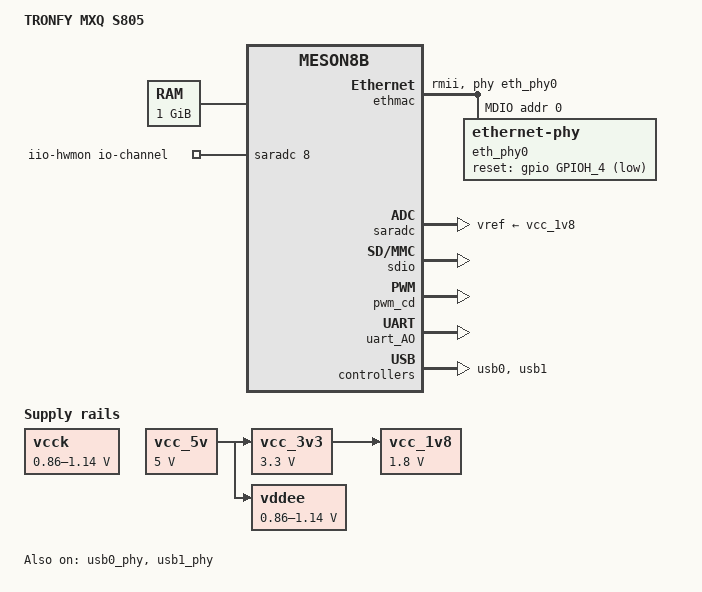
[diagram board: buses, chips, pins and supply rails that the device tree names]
// SPDX-License-Identifier: GPL-2.0 OR MIT
/*
 * Copyright 2015 Endless Mobile, Inc.
 * Author: Carlo Caione <carlo@endlessm.com>
 */

/dts-v1/;

#include <dt-bindings/gpio/gpio.h>

#include "meson8b.dtsi"

/ {
	model = "TRONFY MXQ S805";
	compatible = "tronfy,mxq", "amlogic,meson8b";

	aliases {
		serial0 = &uart_AO;
	};

	chosen {
		stdout-path = "serial0:115200n8";
	};

	memory {
		device_type = "memory";
		reg = <0x40000000 0x40000000>;
	};

	iio-hwmon {
		compatible = "iio-hwmon";
		io-channels = <&saradc 8>;
	};

	vcck: regulator-vcck {
		compatible = "pwm-regulator";

		regulator-name = "VCCK";
		regulator-min-microvolt = <860000>;
		regulator-max-microvolt = <1140000>;

		pwms = <&pwm_cd 0 1148 0>;
		pwm-dutycycle-range = <100 0>;

		regulator-boot-on;
		regulator-always-on;
	};

	vcc_1v8: regulator-vcc1v8 {
		compatible = "regulator-fixed";

		regulator-name = "VCC1V8";
		regulator-min-microvolt = <1800000>;
		regulator-max-microvolt = <1800000>;

		vin-supply = <&vcc_3v3>;
	};

	vcc_3v3: regulator-vcc3v3 {
		compatible = "regulator-fixed";

		regulator-name = "VCC3V3";
		regulator-min-microvolt = <3300000>;
		regulator-max-microvolt = <3300000>;

		vin-supply = <&vcc_5v>;
	};

	vcc_5v: regulator-vcc5v {
		compatible = "regulator-fixed";

		regulator-name = "VCC5V";
		regulator-min-microvolt = <5000000>;
		regulator-max-microvolt = <5000000>;

		regulator-boot-on;
		regulator-always-on;
	};

	vddee: regulator-vddee {
		compatible = "pwm-regulator";

		regulator-name = "VDDEE";
		regulator-min-microvolt = <860000>;
		regulator-max-microvolt = <1140000>;

		vin-supply = <&vcc_5v>;

		pwms = <&pwm_cd 1 1148 0>;
		pwm-dutycycle-range = <100 0>;

		regulator-boot-on;
		regulator-always-on;
	};
};

&cpu0 {
	cpu-supply = <&vcck>;
};

&ethmac {
	status = "okay";

	pinctrl-0 = <&eth_rmii_pins>;
	pinctrl-names = "default";

	phy-handle = <&eth_phy0>;
	phy-mode = "rmii";

	mdio {
		compatible = "snps,dwmac-mdio";
		#address-cells = <1>;
		#size-cells = <0>;

		eth_phy0: ethernet-phy@0 {
			/* IC Plus IP101A/G (0x02430c54) */
			reg = <0>;

			reset-assert-us = <10000>;
			reset-deassert-us = <10000>;
			reset-gpios = <&gpio GPIOH_4 GPIO_ACTIVE_LOW>;

			icplus,select-interrupt;
			interrupt-parent = <&gpio_intc>;
			/* GPIOH_3 */
			interrupts = <17 IRQ_TYPE_LEVEL_LOW>;
		};
	};
};

&mali {
	mali-supply = <&vddee>;
};

&saradc {
	status = "okay";
	vref-supply = <&vcc_1v8>;
};

&sdio {
	status = "okay";

	pinctrl-0 = <&sd_b_pins>;
	pinctrl-names = "default";

	/* SD card */
	sd_card_slot: slot@1 {
		compatible = "mmc-slot";
		reg = <1>;
		status = "okay";

		bus-width = <4>;
		no-sdio;
		cap-mmc-highspeed;
		cap-sd-highspeed;
		disable-wp;

		cd-gpios = <&gpio CARD_6 GPIO_ACTIVE_LOW>;

		vmmc-supply = <&vcc_3v3>;
	};
};

&pwm_cd {
	status = "okay";
	pinctrl-0 = <&pwm_c1_pins>, <&pwm_d_pins>;
	pinctrl-names = "default";
	clocks = <&clkc CLKID_XTAL>, <&clkc CLKID_XTAL>;
	clock-names = "clkin0", "clkin1";
};

&uart_AO {
	status = "okay";
	pinctrl-0 = <&uart_ao_a_pins>;
	pinctrl-names = "default";
};

&usb0 {
	status = "okay";
};

&usb0_phy {
	status = "okay";
};

&usb1 {
	status = "okay";
};

&usb1_phy {
	status = "okay";
};
